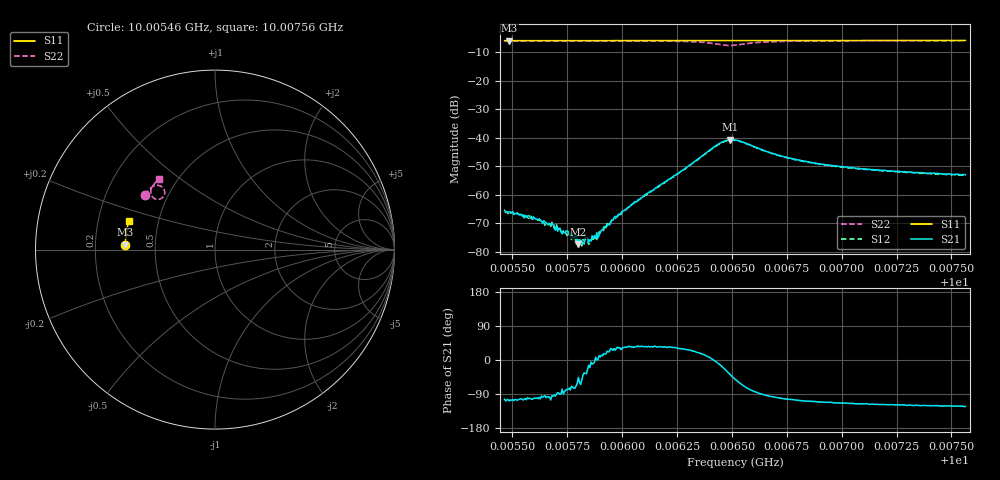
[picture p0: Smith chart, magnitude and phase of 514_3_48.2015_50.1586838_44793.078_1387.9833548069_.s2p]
#  HZ  S  RI  R  50.00
! Rohde & Schwarz Vector Network Analyzer
! Rohde-Schwarz,ZNB20-2Port,1311601062101988,3.16
! Created: UTC 3/20/2024, 11:59:06 AM
! freq[Hz]  re:S11  im:S11  re:S21  im:S21  re:S12  im:S12  re:S22  im:S22
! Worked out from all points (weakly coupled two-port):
!   401 points, 10.00546 GHz to 10.00756 GHz, reference 50 ohm
!   highest |S21| = -40.69 dB at 10.00649 GHz (marker M1); lowest = -77.4 dB at 10.0058 GHz (marker M2)
!   lowest |S11| = -6.0 dB at 10.00549 GHz (marker M3), VSWR 3.01, Z = 16.6 + j1.25 ohm
!   |S11| at or under -10 dB: nowhere
!   |S22| runs from -7.7 to -6.0 dB; largest |S21 - S12| = 0.00057
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1.0005465e10  -0.5004 0.0268  -0.000126 -0.000521  -0.000113 -0.000498  -0.3921 0.3042
1.0005486e10  -0.5003 0.0282  -0.000156 -0.000478  -5.99e-05 -0.000497  -0.3911 0.3056
1.0005569e10  -0.5003 0.0336  -6.87e-05 -0.000418  -7.21e-05 -0.000387  -0.3876 0.3104
1.000569e10  -0.4999 0.0416  -1.12e-05 -0.000295  1.38e-05 -0.000255  -0.3821 0.3178
1.0005716e10  -0.4997 0.0433  -2.32e-06 -0.000261  -1.48e-05 -0.00024  -0.3807 0.3192
1.0005758e10  -0.4997 0.0459  5.37e-05 -0.00019  7.13e-05 -0.000194  -0.3785 0.322
1.00058e10  -0.4994 0.0487  9.43e-05 -9.72e-05  7e-05 -0.000133  -0.3763 0.3245
1.0005816e10  -0.4996 0.0497  9.38e-05 -0.000125  0.000101 -7.56e-05  -0.3755 0.3256
1.0005832e10  -0.4993 0.0507  0.000147 -0.000105  0.000141 -9.53e-05  -0.3746 0.3266
1.0005848e10  -0.4994 0.0518  0.000144 -3.54e-05  0.000129 -3.9e-05  -0.3737 0.3275
1.0005858e10  -0.4991 0.0524  0.000154 -1.44e-05  0.000152 -5.81e-06  -0.3733 0.3282
1.000589e10  -0.499 0.0545  0.000176 3.93e-06  0.000198 2.12e-05  -0.3715 0.3302
1.0005916e10  -0.4989 0.0562  0.000262 8.02e-05  0.000226 6.63e-05  -0.3699 0.332
1.0005994e10  -0.4985 0.0613  0.000424 0.000218  0.000372 0.000254  -0.3646 0.3372
1.0006168e10  -0.4972 0.0725  0.00119 0.000834  0.00109 0.000865  -0.3491 0.3495
1.000643e10  -0.4944 0.0892  0.00732 -0.000704  0.00719 -0.000318  -0.2831 0.3336
1.0006493e10  -0.4937 0.0929  0.00718 -0.00582  0.00733 -0.00527  -0.2931 0.289
1.0006514e10  -0.4935 0.0941  0.0058 -0.00705  0.00607 -0.00659  -0.3078 0.281
1.0006687e10  -0.4923 0.1052  -0.000642 -0.00526  -0.000379 -0.00517  -0.3581 0.3208
1.0006865e10  -0.4902 0.1165  -0.00123 -0.00346  -0.00104 -0.00346  -0.3511 0.347
1.0007217e10  -0.4852 0.1387  -0.00123 -0.00233  -0.00107 -0.00235  -0.3322 0.3733
1.0007563e10  -0.4794 0.1603  -0.00121 -0.00189  -0.00111 -0.00191  -0.3142 0.3915
